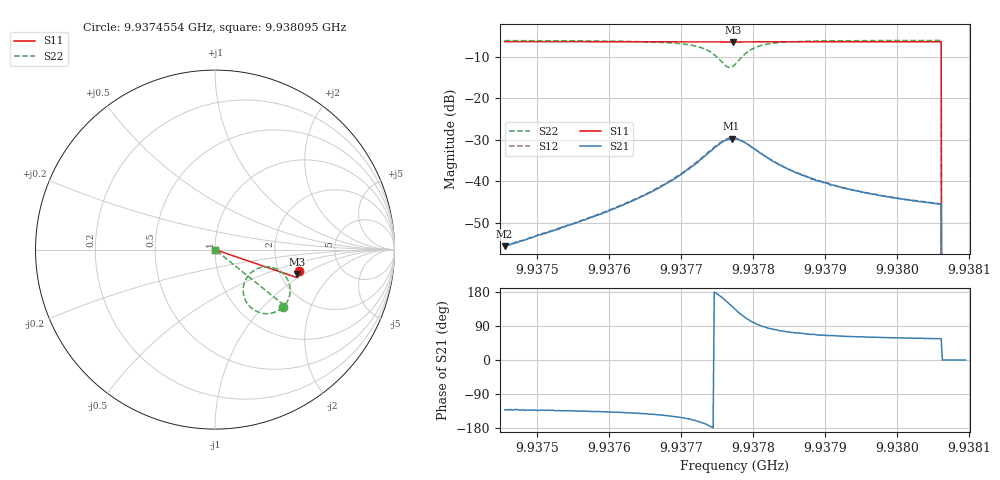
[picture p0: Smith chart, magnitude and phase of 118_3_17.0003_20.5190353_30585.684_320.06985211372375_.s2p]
#  HZ  S  RI  R  50.00
! Rohde & Schwarz Vector Network Analyzer
! Rohde-Schwarz,ZNB20-2Port,1311601062101988,3.16
! Created: UTC 3/20/2024, 10:57:20 PM
! freq[Hz]  re:S11  im:S11  re:S21  im:S21  re:S12  im:S12  re:S22  im:S22
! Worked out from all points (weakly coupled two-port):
!   401 points, 9.9374554 GHz to 9.938095 GHz, reference 50 ohm
!   highest |S21| = -29.75 dB at 9.9377704 GHz (marker M1); lowest = -55.7 dB at 9.9374554 GHz (marker M2)
!   lowest |S11| = -6.4 dB at 9.937772 GHz (marker M3), VSWR 2.83, Z = 124 - j43.3 ohm
!   |S11| at or under -10 dB: 9.9380615 GHz to end of sweep
!   |S22| runs from - to -6.0 dB; largest |S21 - S12| = 0.0017
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9.93745537e9  0.4685 -0.1165  -0.0011 -0.00122  -0.00111 -0.00123  0.3775 -0.3225
9.93756251e9  0.4661 -0.1236  -0.00235 -0.00238  -0.00244 -0.00234  0.3609 -0.3349
9.93762007e9  0.4645 -0.1278  -0.00389 -0.0034  -0.00399 -0.00343  0.3445 -0.3442
9.93766965e9  0.4632 -0.1312  -0.00676 -0.00479  -0.00697 -0.00478  0.3166 -0.3538
9.93770962e9  0.4616 -0.134  -0.0124 -0.00581  -0.0129 -0.00555  0.2673 -0.3554
9.93773361e9  0.4601 -0.1357  -0.0197 -0.00402  -0.0203 -0.00369  0.2094 -0.331
9.9377448e9  0.4593 -0.1361  -0.0244 -0.000473  -0.025 0.000392  0.1767 -0.2953
9.937756e9  0.4585 -0.1359  -0.0284 0.00672  -0.0287 0.00786  0.1572 -0.2312
9.93776399e9  0.4581 -0.1356  -0.0283 0.014  -0.0285 0.0154  0.1687 -0.173
9.93777039e9  0.4581 -0.1353  -0.0258 0.0199  -0.0254 0.0211  0.1984 -0.1307
9.93777199e9  0.4581 -0.1351  -0.0248 0.0211  -0.0244 0.0226  0.2087 -0.1226
9.93777519e9  0.4582 -0.1352  -0.0226 0.0232  -0.022 0.0247  0.2304 -0.1088
9.93778318e9  0.4588 -0.1351  -0.0159 0.0265  -0.0149 0.0275  0.2888 -0.0957
9.93779278e9  0.4594 -0.1355  -0.00846 0.0265  -0.00749 0.027  0.3463 -0.1094
9.93781037e9  0.4601 -0.1371  -0.000371 0.0219  0.00019 0.0219  0.4002 -0.1595
9.93783915e9  0.46 -0.1396  0.00339 0.0151  0.00375 0.015  0.4186 -0.2196
9.93788233e9  0.4592 -0.143  0.00392 0.0097  0.00438 0.0099  0.4136 -0.2627
9.9379271e9  0.4581 -0.1462  0.00378 0.0073  0.00395 0.0073  0.4054 -0.2844
9.93798947e9  0.4566 -0.1505  0.00334 0.00553  0.00347 0.0055  0.3962 -0.3011
9.93805823e9  0.4547 -0.155  0.00292 0.00441  0.00306 0.00441  0.3884 -0.3122
9.93806622e9  0 0  0 0  0 0  0 0
9.93809501e9  0 0  0 0  0 0  0 0
